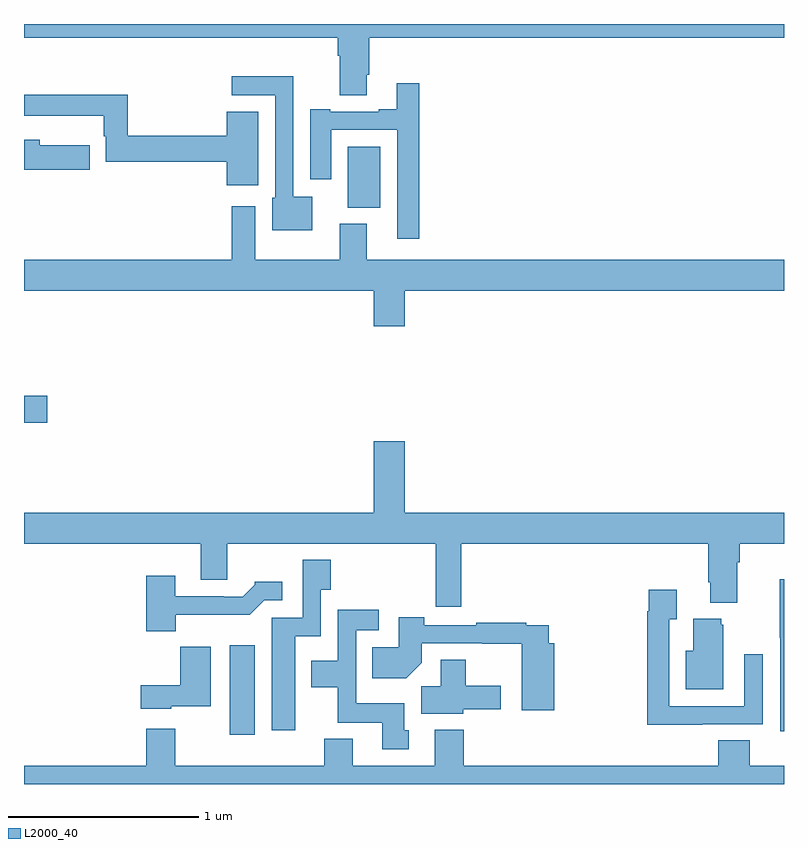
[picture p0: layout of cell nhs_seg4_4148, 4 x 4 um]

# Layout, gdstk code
import gdstk
lib = gdstk.Library(unit=1e-6, precision=1e-09)
def R(c, l, rs):  # rectangles x0, y0, x1, y1
    for r in rs: c.add(gdstk.rectangle(r[:2], r[2:], *l))
def P(c, l, *ps):  # polygons
    for p in ps: c.add(gdstk.Polygon(p, *l))
L2000_40 = (2000, 40)

nhs_seg4_4148 = lib.new_cell('nhs_seg4_4148')
R(nhs_seg4_4148, L2000_40, [(332.084,785.16,332.215,785.629), (331,786.802,331.123,786.944), (332.705,787.934,332.875,788.254)])
P(nhs_seg4_4148, L2000_40, [(332.803,788.632),(332.816,788.632),(332.816,788.828),(335,788.828),(335,788.9),(331,788.9),(331,788.828),(332.651,788.828),(332.651,788.732),(332.663,788.732),(332.663,788.524),(332.803,788.524)],
  [(332.518,787.99),(332.418,787.99),(332.418,788.624),(332.094,788.624),(332.094,788.526),(332.322,788.526),(332.322,787.986),(332.306,787.986),(332.306,787.814),(332.518,787.814)],
  [(333.08,788.587),(332.963,788.587),(332.963,788.452),(332.867,788.452),(332.867,788.439),(332.611,788.439),(332.611,788.452),(332.507,788.452),(332.507,788.082),(332.617,788.082),(332.617,788.343),(332.964,788.343),(332.964,787.77),(333.08,787.77)],
  [(332.233,788.437),(332.066,788.437),(332.066,788.312),(331.547,788.312),(331.547,788.527),(331,788.527),(331,788.418),(331.18,788.418),(331.18,788.417),(331.419,788.417),(331.419,788.31),(331.431,788.31),(331.431,788.176),(332.066,788.176),(332.066,788.051),(332.233,788.051)],
  [(331.345,788.263),(331.084,788.263),(331.084,788.292),(331,788.292),(331,788.134),(331.345,788.134)],
  [(333.004,787.496),(335,787.496),(335,787.66),(332.803,787.66),(332.803,787.849),(332.663,787.849),(332.663,787.66),(332.218,787.66),(332.218,787.942),(332.093,787.942),(332.093,787.66),(331,787.66),(331,787.496),(332.84,787.496),(332.84,787.308),(333.004,787.308)],
  [(333.302,786.164),(334.601,786.164),(334.601,785.962),(334.613,785.962),(334.613,785.855),(334.753,785.855),(334.753,786.068),(334.766,786.068),(334.766,786.164),(335,786.164),(335,786.328),(333.004,786.328),(333.004,786.703),(332.84,786.703),(332.84,786.328),(331,786.328),(331,786.164),(331.931,786.164),(331.931,785.974),(332.071,785.974),(332.071,786.164),(333.166,786.164),(333.166,785.832),(333.302,785.832)],
  [(332.428,785.678),(332.562,785.678),(332.562,785.923),(332.615,785.923),(332.615,786.079),(332.466,786.079),(332.466,785.775),(332.303,785.775),(332.303,785.184),(332.428,785.184)],
  [(331.798,785.79),(332.187,785.79),(332.265,785.868),(332.359,785.868),(332.359,785.965),(332.214,785.965),(332.214,785.95),(332.15,785.886),(332.051,785.886),(332.051,785.889),(331.795,785.889),(331.795,785.995),(331.643,785.995),(331.643,785.705),(331.798,785.705)],
  [(335,785.978),(334.978,785.978),(334.978,785.671),(334.98,785.671),(334.98,785.178),(335,785.178)],
  [(334.571,785.214),(334.887,785.214),(334.887,785.584),(334.791,785.584),(334.791,785.31),(334.395,785.31),(334.395,785.767),(334.435,785.767),(334.435,785.923),(334.287,785.923),(334.287,785.81),(334.279,785.81),(334.279,785.213),(334.571,785.213)],
  [(333.025,785.184),(333.001,785.184),(333.001,785.326),(332.748,785.326),(332.748,785.709),(332.866,785.709),(332.866,785.818),(332.652,785.818),(332.652,785.548),(332.513,785.548),(332.513,785.408),(332.65,785.408),(332.65,785.222),(332.885,785.222),(332.885,785.082),(333.025,785.082)],
  [(333.791,785.641),(333.761,785.641),(333.761,785.736),(333.644,785.736),(333.644,785.749),(333.379,785.749),(333.379,785.736),(333.106,785.736),(333.106,785.777),(332.972,785.777),(332.972,785.62),(332.833,785.62),(332.833,785.456),(333.013,785.456),(333.094,785.537),(333.094,785.64),(333.412,785.64),(333.412,785.638),(333.62,785.638),(333.62,785.289),(333.791,785.289)],
  [(334.681,785.739),(334.67,785.739),(334.67,785.77),(334.523,785.77),(334.523,785.602),(334.484,785.602),(334.484,785.399),(334.681,785.399)],
  [(331.776,785.309),(331.984,785.309),(331.984,785.623),(331.822,785.623),(331.822,785.419),(331.614,785.419),(331.614,785.297),(331.776,785.297)],
  [(333.312,785.294),(333.508,785.294),(333.508,785.416),(333.324,785.416),(333.324,785.555),(333.194,785.555),(333.194,785.414),(333.092,785.414),(333.092,785.27),(333.312,785.27)],
  [(335,784.996),(334.82,784.996),(334.82,785.129),(334.655,785.129),(334.655,784.996),(333.314,784.996),(333.314,785.185),(333.161,785.185),(333.161,784.996),(332.731,784.996),(332.731,785.137),(332.579,785.137),(332.579,784.996),(331.795,784.996),(331.795,785.191),(331.643,785.191),(331.643,784.996),(331,784.996),(331,784.9),(335,784.9)])

lib.write_gds('nhs_seg4_4148.gds')
